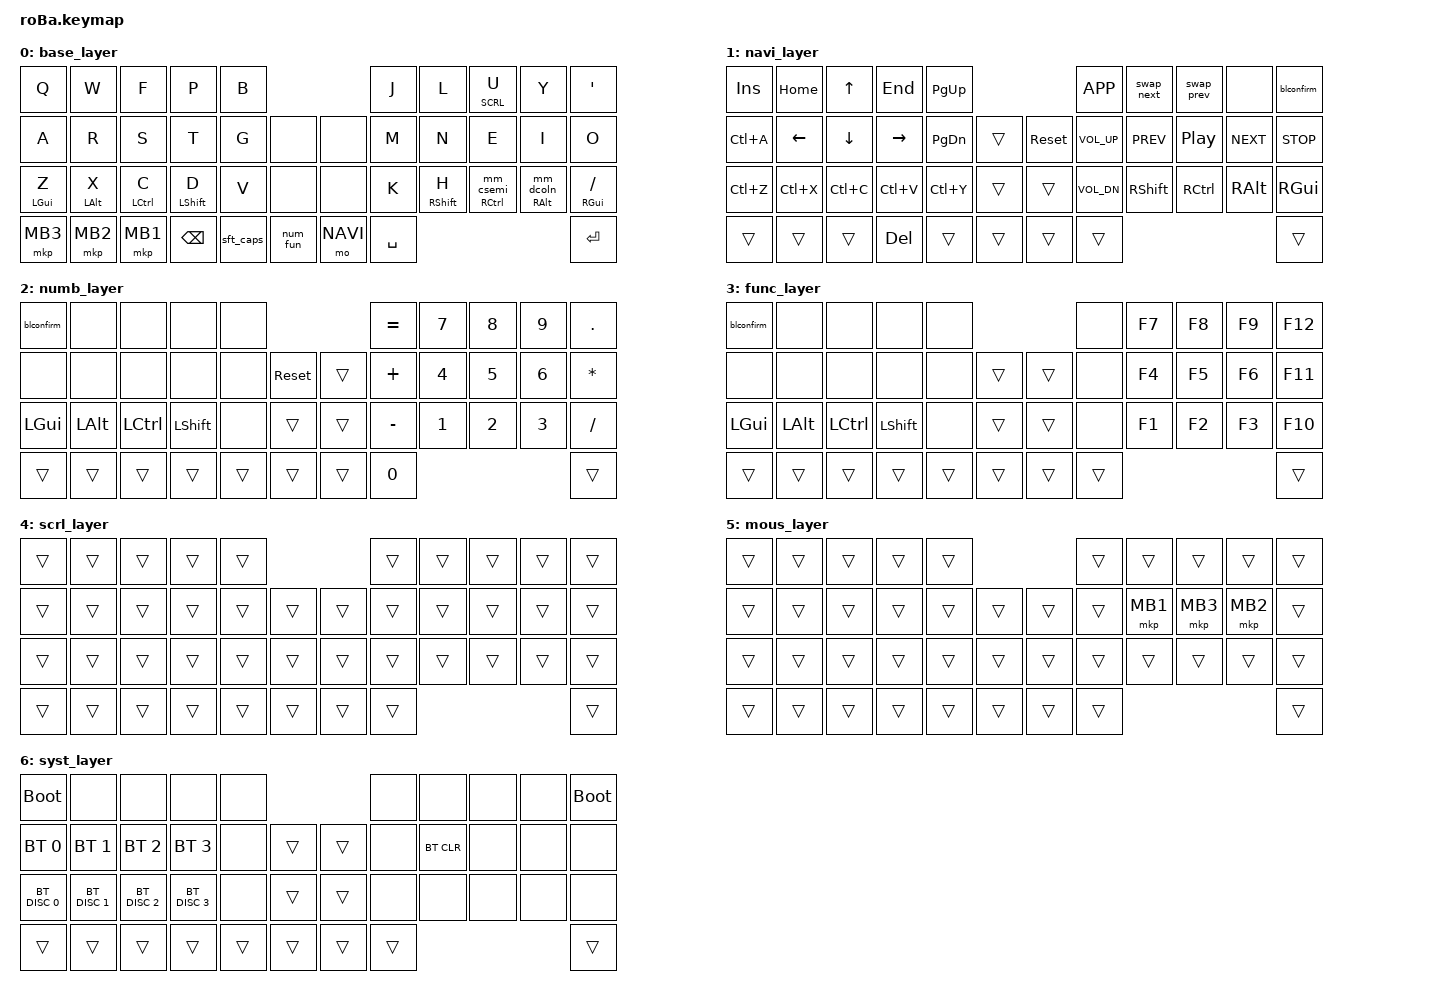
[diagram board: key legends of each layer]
/*
 * Copyright (c) 2020 The ZMK Contributors
 *
 * SPDX-License-Identifier: MIT
 */

#include <behaviors.dtsi>
#include <dt-bindings/zmk/bt.h>
#include <dt-bindings/zmk/keys.h>
#include <dt-bindings/zmk/pointing.h>
#include <zephyr/dt-bindings/input/input-event-codes.h>

/ {
};


#define BASE 0
#define NAVI 1
#define NUMB 2
#define FUNC 3
#define SCRL 4
#define MOUS 5
#define SYST 6

#define MOD_MORPH(NAME, NORMAL, MODDED, MODS) \
  mm_##NAME: NAME { \
    compatible = "zmk,behavior-mod-morph"; \
    #binding-cells = <0>; \
    bindings = <&kp NORMAL>, <&kp MODDED>; \
    mods = <MODS>; \
  };

&caps_word {
    continue-list = <UNDERSCORE MINUS>;
};

&sk {
    release-after-ms = <750>;
};

&lt {
    tapping-term-ms = <150>;
    flavor = "tap-preferred";
};

&trackball {
    automouse-layer = <MOUS>;
    scroll-layers = <SCRL>;
};

/ {
    combos {
        #include "combos.overlay"
    };

    auto_mouse: auto_mouse {
        compatible = "zmk,input-processor-temp-layer";
        #input-processor-cells = <2>;
        require-prior-idle-ms = <250>;
        excluded-positions = <18 19 20>;
    };

    conditional_layers {
        compatible = "zmk,conditional-layers";
        tri_layer {
            if-layers = <NAVI NUMB>;
            then-layer = <SYST>;
        };
    };

    behaviors {
        scr: scroll_layer {
            compatible = "zmk,behavior-hold-tap";
            #binding-cells = <2>;
            flavor = "tap-preferred";
            tapping-term-ms = <250>;
            bindings = <&mo>, <&kp>;
            display-name = "Scoll Layer";
        };
        skq: sticky_key_quick_release {
            compatible = "zmk,behavior-sticky-key";
            #binding-cells = <1>;
            bindings = <&kp>;
            release-after-ms = <500>;
            quick-release;
            ignore-modifiers;
        };
        hml: homerow_modsl {
            compatible = "zmk,behavior-hold-tap";
            #binding-cells = <2>;
            bindings = <&kp>, <&kp>;
            flavor = "balanced";
            tapping-term-ms = <200>;
            quick-tap-ms = <150>;
            require-prior-idle-ms = <175>;
            hold-trigger-key-positions = <5 6 7 8 9 16 17 18 19 20 21 28 29 30 31 32 33 42>;
            hold-trigger-on-release;
        };
        hmr: homerow_modsr {
            compatible = "zmk,behavior-hold-tap";
            #binding-cells = <2>;
            bindings = <&kp>, <&kp>;
            flavor = "balanced";
            tapping-term-ms = <200>;
            quick-tap-ms = <150>;
            require-prior-idle-ms = <175>;
            hold-trigger-key-positions = <0 1 2 3 4 10 11 12 13 14 15 22 23 24 25 26 27 34 35 36>;
            hold-trigger-on-release;
        };
        sft_caps: shift_capsword {
            compatible = "zmk,behavior-tap-dance";
            #binding-cells = <0>;
            tapping-term-ms = <175>;
            bindings = <&skq LSHIFT>, <&caps_word>;
        };

        #include "mod_morph.overlay"

        hmr_c: homerowmod_commasemi {
            compatible = "zmk,behavior-hold-tap";
            #binding-cells = <2>;
            bindings = <&kp>, <&mm_csemi>;
            flavor = "balanced";
            tapping-term-ms = <200>;
            quick-tap-ms = <150>;
            require-prior-idle-ms = <175>;
            hold-trigger-key-positions = <0 1 2 3 4 10 11 12 13 14 15 22 23 24 25 26 27 34 35 36>;
            hold-trigger-on-release;
        };
        hmr_d: homerowmod_dotcolon {
            compatible = "zmk,behavior-hold-tap";
            #binding-cells = <2>;
            bindings = <&kp>, <&mm_dcoln>;
            flavor = "balanced";
            tapping-term-ms = <200>;
            quick-tap-ms = <150>;
            require-prior-idle-ms = <175>;
            hold-trigger-key-positions = <0 1 2 3 4 10 11 12 13 14 15 22 23 24 25 26 27 34 35 36>;
            hold-trigger-on-release;
        };
        swap_next: swap_next {
            compatible = "zmk,behavior-tri-state";
            #binding-cells = <0>;
            bindings = <&kt LALT>, <&kp TAB>, <&kt LALT>;
            timeout-ms = <1500>;
        };
        swap_prev: swap_prev {
            compatible = "zmk,behavior-tri-state";
            #binding-cells = <0>;
            bindings = <&kt LALT>, <&kp LS(TAB)>, <&kt LALT>;
            timeout-ms = <1500>;
        };
        num_fun: num_function {
            compatible = "zmk,behavior-tap-dance";
            #binding-cells = <0>;
            tapping-term-ms = <200>;
            bindings = <&mo NUMB>, <&mo FUNC>;
        };
        blconfirm: bootloader_confirmation {
            compatible = "zmk,behavior-tap-dance";
            #binding-cells = <0>;
            tapping-term-ms = <250>;
            bindings = <&none>, <&bootloader>;
        };

    };

    keymap {
        compatible = "zmk,keymap";

/*
        layer_template {
            bindings = <
&trans        &trans        &trans        &trans        &trans                                            &trans        &trans        &trans        &trans        &trans        
&trans        &trans        &trans        &trans        &trans        &trans              &trans          &trans        &trans        &trans        &trans        &trans        
&trans        &trans        &trans        &trans        &trans        &trans              &trans          &trans        &trans        &trans        &trans        &trans        
&trans        &trans        &trans        &trans        &trans        &trans              &trans          &trans                                                  &trans        
            >;
        };
*/

        base_layer {
            bindings = <
&kp Q         &kp W         &kp F         &kp P         &kp B                                             &kp J         &kp L         &scr SCRL U   &kp Y         &kp SQT
&kp A         &kp R         &kp S         &kp T         &kp G         &none               &none           &kp M         &kp N         &kp E         &kp I         &kp O
&hml LGUI Z   &hml LALT X   &hml LCTL C   &hml LSHFT D  &kp V         &none               &none           &kp K         &hmr RSHFT H  &hmr_c RCTL 0 &hmr_d RALT 0 &hmr RGUI FSLH
&mkp MB3      &mkp MB2      &mkp MB1      &kp BSPC      &sft_caps     &num_fun            &mo NAVI        &kp SPACE                                               &kp ENTER
            >;
        };

        navi_layer {
            bindings = <
&kp INS       &kp HOME      &kp UP        &kp END       &kp PG_UP                                         &kp K_APP     &swap_next    &swap_prev    &none         &blconfirm
&kp LC(A)     &kp LEFT      &kp DOWN      &kp RIGHT     &kp PG_DN     &trans              &sys_reset      &kp C_VOL_UP  &kp C_PREV    &kp C_PP      &kp C_NEXT    &kp C_STOP
&kp LC(Z)     &kp LC(X)     &kp LC(C)     &kp LC(V)     &kp LC(Y)     &trans              &trans          &kp C_VOL_DN  &kp RSHIFT    &kp RCTRL     &kp RALT      &kp RGUI
&trans        &trans        &trans        &kp DEL       &trans        &trans              &trans          &trans                                                  &trans        
            >;
        };

        numb_layer {
            bindings = <
&blconfirm    &none         &none         &none         &none                                             &kp EQUAL     &kp N7        &kp N8        &kp N9        &kp DOT
&none         &none         &none         &none         &none         &sys_reset          &trans          &kp PLUS      &kp N4        &kp N5        &kp N6        &kp ASTRK
&kp LGUI      &kp LALT      &kp LCTL      &kp LSHFT     &none         &trans              &trans          &kp MINUS     &kp N1        &kp N2        &kp N3        &kp FSLH
&trans        &trans        &trans        &trans        &trans        &trans              &trans          &kp N0                                                  &trans        
            >;
        };

        func_layer {
            bindings = <
&blconfirm    &none         &none         &none         &none                                             &none         &kp F7        &kp F8        &kp F9        &kp F12
&none         &none         &none         &none         &none         &trans              &trans          &none         &kp F4        &kp F5        &kp F6        &kp F11
&kp LGUI      &kp LALT      &kp LCTL      &kp LSHFT     &none         &trans              &trans          &none         &kp F1        &kp F2        &kp F3        &kp F10
&trans        &trans        &trans        &trans        &trans        &trans              &trans          &trans                                                  &trans        
            >;
        };

        scrl_layer {
            bindings = <
&trans        &trans        &trans        &trans        &trans                                            &trans        &trans        &trans        &trans        &trans        
&trans        &trans        &trans        &trans        &trans        &trans              &trans          &trans        &trans        &trans        &trans        &trans        
&trans        &trans        &trans        &trans        &trans        &trans              &trans          &trans        &trans        &trans        &trans        &trans        
&trans        &trans        &trans        &trans        &trans        &trans              &trans          &trans                                                  &trans        
            >;
        };

        mous_layer {
            bindings = <
&trans        &trans        &trans        &trans        &trans                                            &trans        &trans        &trans        &trans        &trans        
&trans        &trans        &trans        &trans        &trans        &trans              &trans          &trans        &mkp MB1      &mkp MB3      &mkp MB2      &trans        
&trans        &trans        &trans        &trans        &trans        &trans              &trans          &trans        &trans        &trans        &trans        &trans        
&trans        &trans        &trans        &trans        &trans        &trans              &trans          &trans                                                  &trans        
            >;
        };

        syst_layer {
            bindings = <
&bootloader   &none         &none         &none         &none                                             &none         &none         &none         &none         &bootloader
&bt BT_SEL 0  &bt BT_SEL 1  &bt BT_SEL 2  &bt BT_SEL 3  &none         &trans              &trans          &none         &bt BT_CLR    &none         &none         &none
&bt BT_DISC 0 &bt BT_DISC 1 &bt BT_DISC 2 &bt BT_DISC 3 &none         &trans              &trans          &none         &none         &none         &none         &none
&trans        &trans        &trans        &trans        &trans        &trans              &trans          &trans                                                  &trans        
            >;
        };
    };
};
